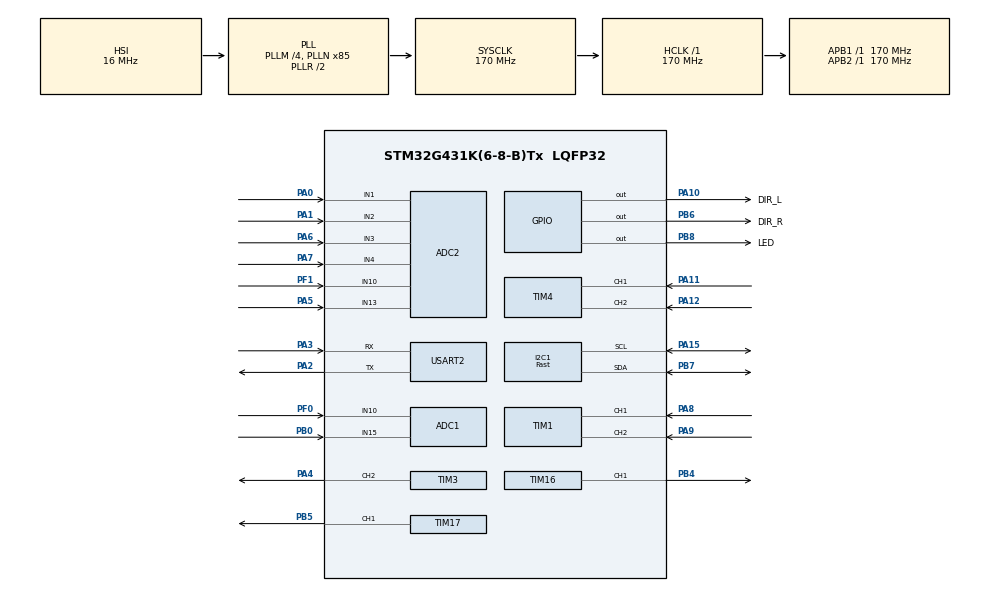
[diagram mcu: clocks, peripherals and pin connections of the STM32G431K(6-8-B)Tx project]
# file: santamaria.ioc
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ADC1.Channel-0\#ChannelRegularConversion=ADC_CHANNEL_10
ADC1.Channel-1\#ChannelRegularConversion=ADC_CHANNEL_15
ADC1.DMAContinuousRequests=ENABLE
ADC1.DiscontinuousConvMode=ENABLE
ADC1.ExternalTrigConv=ADC_EXTERNALTRIG_T6_TRGO
ADC1.NbrOfConversion=2
ADC1.NbrOfConversionFlag=1
ADC1.NbrOfDiscConversion=2
ADC1.OffsetNumber-0\#ChannelRegularConversion=ADC_OFFSET_NONE
ADC1.OffsetNumber-1\#ChannelRegularConversion=ADC_OFFSET_NONE
ADC1.Rank-0\#ChannelRegularConversion=1
ADC1.Rank-1\#ChannelRegularConversion=2
ADC1.SamplingTime-0\#ChannelRegularConversion=ADC_SAMPLETIME_12CYCLES_5
ADC1.SamplingTime-1\#ChannelRegularConversion=ADC_SAMPLETIME_12CYCLES_5
ADC1.master=1
ADC2.Channel-0\#ChannelRegularConversion=ADC_CHANNEL_1
ADC2.Channel-1\#ChannelRegularConversion=ADC_CHANNEL_2
ADC2.Channel-2\#ChannelRegularConversion=ADC_CHANNEL_3
ADC2.Channel-3\#ChannelRegularConversion=ADC_CHANNEL_4
ADC2.Channel-4\#ChannelRegularConversion=ADC_CHANNEL_10
ADC2.Channel-5\#ChannelRegularConversion=ADC_CHANNEL_13
ADC2.DMAContinuousRequests=ENABLE
ADC2.DiscontinuousConvMode=ENABLE
ADC2.ExternalTrigConv=ADC_EXTERNALTRIG_T6_TRGO
ADC2.NbrOfConversion=6
ADC2.NbrOfConversionFlag=1
ADC2.NbrOfDiscConversion=6
ADC2.OffsetNumber-0\#ChannelRegularConversion=ADC_OFFSET_NONE
ADC2.OffsetNumber-1\#ChannelRegularConversion=ADC_OFFSET_NONE
ADC2.OffsetNumber-2\#ChannelRegularConversion=ADC_OFFSET_NONE
ADC2.OffsetNumber-3\#ChannelRegularConversion=ADC_OFFSET_NONE
ADC2.OffsetNumber-4\#ChannelRegularConversion=ADC_OFFSET_NONE
ADC2.OffsetNumber-5\#ChannelRegularConversion=ADC_OFFSET_NONE
ADC2.Rank-0\#ChannelRegularConversion=1
ADC2.Rank-1\#ChannelRegularConversion=2
ADC2.Rank-2\#ChannelRegularConversion=3
ADC2.Rank-3\#ChannelRegularConversion=4
ADC2.Rank-4\#ChannelRegularConversion=5
ADC2.Rank-5\#ChannelRegularConversion=6
ADC2.SamplingTime-0\#ChannelRegularConversion=ADC_SAMPLETIME_12CYCLES_5
ADC2.SamplingTime-1\#ChannelRegularConversion=ADC_SAMPLETIME_12CYCLES_5
ADC2.SamplingTime-2\#ChannelRegularConversion=ADC_SAMPLETIME_12CYCLES_5
ADC2.SamplingTime-3\#ChannelRegularConversion=ADC_SAMPLETIME_12CYCLES_5
ADC2.SamplingTime-4\#ChannelRegularConversion=ADC_SAMPLETIME_2CYCLES_5
ADC2.SamplingTime-5\#ChannelRegularConversion=ADC_SAMPLETIME_12CYCLES_5
Dma.ADC1.0.Direction=DMA_PERIPH_TO_MEMORY
Dma.ADC1.0.EventEnable=DISABLE
Dma.ADC1.0.Instance=DMA1_Channel1
Dma.ADC1.0.MemDataAlignment=DMA_MDATAALIGN_HALFWORD
Dma.ADC1.0.MemInc=DMA_MINC_ENABLE
Dma.ADC1.0.Mode=DMA_CIRCULAR
Dma.ADC1.0.PeriphDataAlignment=DMA_PDATAALIGN_HALFWORD
Dma.ADC1.0.PeriphInc=DMA_PINC_DISABLE
Dma.ADC1.0.Polarity=HAL_DMAMUX_REQ_GEN_RISING
Dma.ADC1.0.Priority=DMA_PRIORITY_LOW
Dma.ADC1.0.RequestNumber=1
Dma.ADC1.0.SignalID=NONE
Dma.ADC1.0.SyncEnable=DISABLE
Dma.ADC1.0.SyncPolarity=HAL_DMAMUX_SYNC_NO_EVENT
Dma.ADC1.0.SyncRequestNumber=1
Dma.ADC1.0.SyncSignalID=NONE
Dma.ADC2.1.Direction=DMA_PERIPH_TO_MEMORY
Dma.ADC2.1.EventEnable=DISABLE
Dma.ADC2.1.Instance=DMA1_Channel2
Dma.ADC2.1.MemDataAlignment=DMA_MDATAALIGN_HALFWORD
Dma.ADC2.1.MemInc=DMA_MINC_ENABLE
Dma.ADC2.1.Mode=DMA_CIRCULAR
Dma.ADC2.1.PeriphDataAlignment=DMA_PDATAALIGN_HALFWORD
Dma.ADC2.1.PeriphInc=DMA_PINC_DISABLE
Dma.ADC2.1.Polarity=HAL_DMAMUX_REQ_GEN_RISING
Dma.ADC2.1.Priority=DMA_PRIORITY_LOW
Dma.ADC2.1.RequestNumber=1
Dma.ADC2.1.SignalID=NONE
Dma.ADC2.1.SyncEnable=DISABLE
Dma.ADC2.1.SyncPolarity=HAL_DMAMUX_SYNC_NO_EVENT
Dma.ADC2.1.SyncRequestNumber=1
Dma.ADC2.1.SyncSignalID=NONE
Dma.I2C1_RX.2.Direction=DMA_PERIPH_TO_MEMORY
Dma.I2C1_RX.2.EventEnable=DISABLE
Dma.I2C1_RX.2.Instance=DMA1_Channel3
Dma.I2C1_RX.2.MemDataAlignment=DMA_MDATAALIGN_BYTE
Dma.I2C1_RX.2.MemInc=DMA_MINC_ENABLE
Dma.I2C1_RX.2.Mode=DMA_NORMAL
Dma.I2C1_RX.2.PeriphDataAlignment=DMA_PDATAALIGN_BYTE
Dma.I2C1_RX.2.PeriphInc=DMA_PINC_DISABLE
Dma.I2C1_RX.2.Polarity=HAL_DMAMUX_REQ_GEN_RISING
Dma.I2C1_RX.2.Priority=DMA_PRIORITY_LOW
Dma.I2C1_RX.2.RequestNumber=1
Dma.I2C1_RX.2.SignalID=NONE
Dma.I2C1_RX.2.SyncEnable=DISABLE
Dma.I2C1_RX.2.SyncPolarity=HAL_DMAMUX_SYNC_NO_EVENT
Dma.I2C1_RX.2.SyncRequestNumber=1
Dma.I2C1_RX.2.SyncSignalID=NONE
Dma.I2C1_TX.3.Direction=DMA_MEMORY_TO_PERIPH
Dma.I2C1_TX.3.EventEnable=DISABLE
Dma.I2C1_TX.3.Instance=DMA1_Channel4
Dma.I2C1_TX.3.MemDataAlignment=DMA_MDATAALIGN_BYTE
Dma.I2C1_TX.3.MemInc=DMA_MINC_ENABLE
Dma.I2C1_TX.3.Mode=DMA_NORMAL
Dma.I2C1_TX.3.PeriphDataAlignment=DMA_PDATAALIGN_BYTE
Dma.I2C1_TX.3.PeriphInc=DMA_PINC_DISABLE
Dma.I2C1_TX.3.Polarity=HAL_DMAMUX_REQ_GEN_RISING
Dma.I2C1_TX.3.Priority=DMA_PRIORITY_LOW
Dma.I2C1_TX.3.RequestNumber=1
Dma.I2C1_TX.3.SignalID=NONE
Dma.I2C1_TX.3.SyncEnable=DISABLE
Dma.I2C1_TX.3.SyncPolarity=HAL_DMAMUX_SYNC_NO_EVENT
Dma.I2C1_TX.3.SyncRequestNumber=1
Dma.I2C1_TX.3.SyncSignalID=NONE
Dma.Request0=ADC1
Dma.Request1=ADC2
Dma.Request2=I2C1_RX
Dma.Request3=I2C1_TX
I2C1.I2C_Speed_Mode=I2C_Fast
I2C1.Timing=0x40621236
Mcu.Family=STM32G4
Mcu.Name=STM32G431K(6-8-B)Tx
Mcu.Package=LQFP32
NVIC.DMA1_Channel1_IRQn=true\:0\:0\:false\:false\:true\:false\:true\:true
NVIC.DMA1_Channel2_IRQn=true\:0\:0\:false\:false\:true\:false\:true\:true
NVIC.DMA1_Channel3_IRQn=true\:0\:0\:false\:false\:true\:false\:true\:true
NVIC.DMA1_Channel4_IRQn=true\:0\:0\:false\:false\:true\:false\:true\:true
NVIC.I2C1_EV_IRQn=true\:0\:0\:false\:false\:true\:true\:true\:true
NVIC.PriorityGroup=NVIC_PRIORITYGROUP_4
NVIC.TIM6_DAC_IRQn=true\:0\:0\:false\:false\:true\:true\:true\:true
NVIC.TIM7_IRQn=true\:0\:0\:false\:false\:true\:true\:true\:true
PA0.Mode=IN1-Single-Ended
PA0.Signal=ADC2_IN1
PA1.Mode=IN2-Single-Ended
PA1.Signal=ADC2_IN2
PA10.GPIO_Label=DIR_L
PA10.Signal=GPIO_Output
PA11.Signal=S_TIM4_CH1
PA12.Signal=S_TIM4_CH2
PA13.Mode=Serial_Wire
PA13.Signal=SYS_JTMS-SWDIO
PA14.Mode=Serial_Wire
PA14.Signal=SYS_JTCK-SWCLK
PA15.Mode=I2C
PA15.Signal=I2C1_SCL
PA2.Mode=Asynchronous
PA2.Signal=USART2_TX
PA3.Mode=Asynchronous
PA3.Signal=USART2_RX
PA4.Signal=S_TIM3_CH2
PA5.Mode=IN13-Single-Ended
PA5.Signal=ADC2_IN13
PA6.Mode=IN3-Single-Ended
PA6.Signal=ADC2_IN3
PA7.Mode=IN4-Single-Ended
PA7.Signal=ADC2_IN4
PA8.Signal=S_TIM1_CH1
PA9.Signal=S_TIM1_CH2
PB0.Mode=IN15-Single-Ended
PB0.Signal=ADC1_IN15
PB3.Signal=SYS_JTDO-SWO
PB4.Signal=S_TIM16_CH1
PB5.Signal=S_TIM17_CH1
PB6.GPIO_Label=DIR_R
PB6.Signal=GPIO_Output
PB7.Mode=I2C
PB7.Signal=I2C1_SDA
PB8-BOOT0.GPIO_Label=LED
PB8-BOOT0.Signal=GPIO_Output
PF0-OSC_IN.Mode=IN10-Single-Ended
PF0-OSC_IN.Signal=ADC1_IN10
PF1-OSC_OUT.Mode=IN10-Single-Ended
PF1-OSC_OUT.Signal=ADC2_IN10
ProjectManager.HeapSize=0x200
ProjectManager.StackSize=0x400
ProjectManager.TargetToolchain=CMake
RCC.ADC12Freq_Value=170000000
RCC.AHBFreq_Value=170000000
RCC.APB1Freq_Value=170000000
RCC.APB1TimFreq_Value=170000000
RCC.APB2Freq_Value=170000000
RCC.APB2TimFreq_Value=170000000
RCC.CortexFreq_Value=170000000
RCC.EXTERNAL_CLOCK_VALUE=12288000
RCC.HCLKFreq_Value=170000000
RCC.HSE_VALUE=8000000
RCC.HSI48_VALUE=48000000
RCC.HSI_VALUE=16000000
RCC.LSE_VALUE=32768
RCC.PLLM=RCC_PLLM_DIV4
RCC.PLLN=85
RCC.SYSCLKFreq_VALUE=170000000
RCC.SYSCLKSource=RCC_SYSCLKSOURCE_PLLCLK
RCC.USBFreq_Value=170000000
RCC.VCOOutputFreq_Value=340000000
SH.S_TIM16_CH1.0=TIM16_CH1,PWM Generation1 CH1
SH.S_TIM17_CH1.0=TIM17_CH1,PWM Generation1 CH1
SH.S_TIM1_CH1.0=TIM1_CH1,Encoder_Interface
SH.S_TIM1_CH2.0=TIM1_CH2,Encoder_Interface
SH.S_TIM3_CH2.0=TIM3_CH2,PWM Generation2 CH2
SH.S_TIM4_CH1.0=TIM4_CH1,Encoder_Interface
SH.S_TIM4_CH2.0=TIM4_CH2,Encoder_Interface
TIM1.AutoReloadPreload=TIM_AUTORELOAD_PRELOAD_ENABLE
TIM1.EncoderMode=TIM_ENCODERMODE_TI12
TIM16.AutoReloadPreload=TIM_AUTORELOAD_PRELOAD_ENABLE
TIM16.Channel=TIM_CHANNEL_1
TIM16.PeriodNoDither=2124
TIM16.Prescaler=3
TIM17.AutoReloadPreload=TIM_AUTORELOAD_PRELOAD_ENABLE
TIM17.Channel=TIM_CHANNEL_1
TIM17.PeriodNoDither=2124
TIM17.Prescaler=3
TIM3.AutoReloadPreload=TIM_AUTORELOAD_PRELOAD_ENABLE
TIM3.Channel-PWM\ Generation2\ CH2=TIM_CHANNEL_2
TIM3.PeriodNoDither=2273
TIM3.Prescaler=169
TIM4.AutoReloadPreload=TIM_AUTORELOAD_PRELOAD_ENABLE
TIM4.EncoderMode=TIM_ENCODERMODE_TI12
TIM6.AutoReloadPreload=TIM_AUTORELOAD_PRELOAD_ENABLE
TIM6.PeriodNoDither=999
TIM6.Prescaler=169
TIM6.TIM_MasterOutputTrigger=TIM_TRGO_UPDATE
TIM7.AutoReloadPreload=TIM_AUTORELOAD_PRELOAD_ENABLE
TIM7.PeriodNoDither=499
TIM7.Prescaler=169
TIM7.TIM_MasterOutputTrigger=TIM_TRGO_RESET
USART2.VirtualMode-Asynchronous=VM_ASYNC
VP_SYS_VS_DBSignals.Mode=DisableDeadBatterySignals
VP_TIM16_VS_ClockSourceINT.Mode=Enable_Timer
VP_TIM17_VS_ClockSourceINT.Mode=Enable_Timer
VP_TIM6_VS_ClockSourceINT.Mode=Enable_Timer
VP_TIM7_VS_ClockSourceINT.Mode=Enable_Timer
board=custom

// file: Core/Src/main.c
/* USER CODE BEGIN Header */
/**
  ******************************************************************************
  * @file           : main.c
  * @brief          : Main program body
  ******************************************************************************
  * @attention
  *
  * Copyright (c) 2026 STMicroelectronics.
  * All rights reserved.
  *
  * This software is licensed under terms that can be found in the LICENSE file
  * in the root directory of this software component.
  * If no LICENSE file comes with this software, it is provided AS-IS.
  *
  ******************************************************************************
  */
/* USER CODE END Header */
#include "main.h"
#include "adc.h"
#include "dma.h"
#include "i2c.h"
#include "tim.h"
#include "usart.h"
#include "gpio.h"

/* USER CODE BEGIN Includes */
#include <stdint.h>
#include <xprintf.h>
#include "../../usercodes/sac/sac.h"
#include "../../usercodes/app/app.h"
#include "../../usercodes/service/i2cmn/i2c_manager.h"
/* USER CODE END Includes */

/* USER CODE BEGIN PV */
volatile uint16_t   ADC1_DMA_data[2];
volatile uint16_t   ADC2_DMA_data[6];
volatile uint16_t   timerIntrDevCnt;
/* USER CODE END PV */

void SystemClock_Config(void);
/* USER CODE BEGIN PFP */

/**
 * @brief 500usタイマーハンドラA
 * @details タイマー割り込み内で実施
 */
void timerInterruptHandler_500us(void);

/**
 * @brief 1msタイマーハンドラA
 * @details タイマー割り込み内で実施
 */
void timerInterruptHandler_1msA(void);
/**
 * @brief 1msタイマーハンドラB
 * @details タイマー割り込み内で実施
 */
void timerInterruptHandler_1msB(void);

/**
 * @brief 10msタイマーハンドラA
 * @details タイマー割り込み内で実施
 */
void timerInterruptHandler_10msA(void);
/**
 * @brief 10msタイマーハンドラB
 * @details タイマー割り込み内で実施
 */
void timerInterruptHandler_10msB(void);

/* USER CODE END PFP */

/* USER CODE BEGIN 0 */
void _x_putchar(int ch) {
    HAL_UART_Transmit(&huart2, (uint8_t *)&ch, 1 , 0xFFFF );
}

void HAL_TIM_PeriodElapsedCallback(TIM_HandleTypeDef *htim) {
    HAL_GPIO_WritePin(LED_GPIO_Port, LED_Pin, 1);
    if (htim == &htim7) {

        timerInterruptHandler_500us();

        if (timerIntrDevCnt % 2) {
            timerInterruptHandler_1msA();
        }
        else {
            timerInterruptHandler_1msB();
        }

        if (timerIntrDevCnt == 0) {
            timerInterruptHandler_10msA();
        }
        else if (timerIntrDevCnt == 10) {
            timerInterruptHandler_10msB();
        }

        if (timerIntrDevCnt == 19) {
            timerIntrDevCnt = 0;
        }
        else {
            timerIntrDevCnt++;
        }
    }
    HAL_GPIO_WritePin(LED_GPIO_Port, LED_Pin, 0);
}

/* USER CODE END 0 */

int main(void)
{

  /* USER CODE BEGIN 1 */
    int cnt = 0;
  /* USER CODE END 1 */

  /* MCU Configuration--------------------------------------------------------*/

  /* Reset of all peripherals, Initializes the Flash interface and the Systick. */
  HAL_Init();

  /* Configure the system clock */
  SystemClock_Config();

  /* Initialize all configured peripherals */
  MX_GPIO_Init();
  MX_DMA_Init();
  MX_I2C1_Init();
  MX_USART2_UART_Init();
  MX_ADC1_Init();
  MX_ADC2_Init();
  MX_TIM1_Init();
  MX_TIM3_Init();
  MX_TIM4_Init();
  MX_TIM16_Init();
  MX_TIM17_Init();
  MX_TIM6_Init();
  MX_TIM7_Init();
  /* USER CODE BEGIN 2 */
      HAL_TIM_PWM_Start(&htim3, TIM_CHANNEL_2);
      for (cnt = 0; cnt < 8; cnt++) {
      __HAL_TIM_SET_AUTORELOAD(&htim3, (uint16_t)(4545 / ((cnt + 1))) );
      __HAL_TIM_SET_COMPARE(&htim3, TIM_CHANNEL_2, (uint16_t)(4545 / ((cnt + 1) * 2)));
      __HAL_TIM_CLEAR_FLAG(&htim3, TIM_FLAG_UPDATE);
      HAL_Delay(64 - (cnt * 4));
      __HAL_TIM_SET_COMPARE(&htim3, TIM_CHANNEL_2, (uint16_t)(0));
      HAL_Delay(128 - (cnt * 8));
    }
    xdev_out(_x_putchar);

  HAL_ADC_Start_DMA(&hadc1, (uint32_t *)ADC1_DMA_data, 2);
  HAL_ADC_Start_DMA(&hadc2, (uint32_t *)ADC2_DMA_data, 6);

  HAL_TIM_PWM_Start(&htim16, TIM_CHANNEL_1);
  HAL_TIM_PWM_Start(&htim17, TIM_CHANNEL_1);

  HAL_TIM_Encoder_Start(&htim1, TIM_CHANNEL_ALL);
  HAL_TIM_Encoder_Start(&htim4, TIM_CHANNEL_ALL);

  i2cmanagerInit();
  /// SAC INIT
  uiswInit(&ADC2_DMA_data[5]);
  buzzerInit();
  motorsInit();
  linesensorsInit(&ADC2_DMA_data[3], &ADC2_DMA_data[2], &ADC2_DMA_data[1], &ADC2_DMA_data[0]);
  markersensorsInit(&ADC1_DMA_data[0], &ADC2_DMA_data[4]);
  batteryInit(&ADC1_DMA_data[1]);
  timerIntrDevCnt = 0;
  HAL_TIM_Base_Start(&htim6);
  __HAL_TIM_SET_COUNTER(&htim7, 127);
  appInit();
  HAL_TIM_Base_Start_IT(&htim7);

  /* USER CODE END 2 */

  /* Infinite loop */
  /* USER CODE BEGIN WHILE */
  while (1)
  {
    sacLoop();
    i2cmanagerMainloop();
    appMainLoop();
    /* USER CODE END WHILE */

    /* USER CODE BEGIN 3 */
    HAL_Delay(10);
  }
  /* USER CODE END 3 */
}

void SystemClock_Config(void)
{
  RCC_OscInitTypeDef RCC_OscInitStruct = {0};
  RCC_ClkInitTypeDef RCC_ClkInitStruct = {0};

  /** Configure the main internal regulator output voltage
  */
  HAL_PWREx_ControlVoltageScaling(PWR_REGULATOR_VOLTAGE_SCALE1_BOOST);

  /** Initializes the RCC Oscillators according to the specified parameters
  * in the RCC_OscInitTypeDef structure.
  */
  RCC_OscInitStruct.OscillatorType = RCC_OSCILLATORTYPE_HSI;
  RCC_OscInitStruct.HSIState = RCC_HSI_ON;
  RCC_OscInitStruct.HSICalibrationValue = RCC_HSICALIBRATION_DEFAULT;
  RCC_OscInitStruct.PLL.PLLState = RCC_PLL_ON;
  RCC_OscInitStruct.PLL.PLLSource = RCC_PLLSOURCE_HSI;
  RCC_OscInitStruct.PLL.PLLM = RCC_PLLM_DIV4;
  RCC_OscInitStruct.PLL.PLLN = 85;
  RCC_OscInitStruct.PLL.PLLP = RCC_PLLP_DIV2;
  RCC_OscInitStruct.PLL.PLLQ = RCC_PLLQ_DIV2;
  RCC_OscInitStruct.PLL.PLLR = RCC_PLLR_DIV2;
  if (HAL_RCC_OscConfig(&RCC_OscInitStruct) != HAL_OK)
  {
    Error_Handler();
  }

  /** Initializes the CPU, AHB and APB buses clocks
  */
  RCC_ClkInitStruct.ClockType = RCC_CLOCKTYPE_HCLK|RCC_CLOCKTYPE_SYSCLK
                              |RCC_CLOCKTYPE_PCLK1|RCC_CLOCKTYPE_PCLK2;
  RCC_ClkInitStruct.SYSCLKSource = RCC_SYSCLKSOURCE_PLLCLK;
  RCC_ClkInitStruct.AHBCLKDivider = RCC_SYSCLK_DIV1;
  RCC_ClkInitStruct.APB1CLKDivider = RCC_HCLK_DIV1;
  RCC_ClkInitStruct.APB2CLKDivider = RCC_HCLK_DIV1;

  if (HAL_RCC_ClockConfig(&RCC_ClkInitStruct, FLASH_LATENCY_4) != HAL_OK)
  {
    Error_Handler();
  }
}

/* USER CODE BEGIN 4 */
void timerInterruptHandler_500us(void) {

}

void timerInterruptHandler_1msA(void) {
    linesensorsMeasure_1ms();
    markersensorsMeasure_1ms();
    i2cmanagerControl_1ms_A();
    imuMeasure_1ms();
}

void timerInterruptHandler_1msB(void) {
    i2cmanagerControl_1ms_B();
    appIntervalHandler_1ms();
    motorsControl_1ms();
}

void timerInterruptHandler_10msA(void) {
    uisw_10ms();
    buzzer_10ms();
}

void timerInterruptHandler_10msB(void) {
    battery_10ms();
    appIntervalHandler_10ms();
}
/* USER CODE END 4 */

void Error_Handler(void)
{
  __disable_irq();
  while (1)
  {
  }
}
